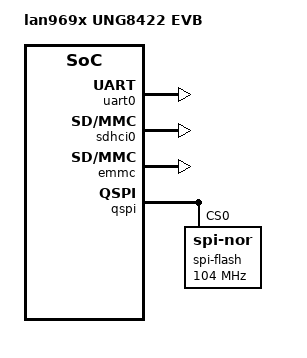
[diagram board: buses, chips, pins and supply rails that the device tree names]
/dts-v1/;

#include "lan969x_a0.dtsi"
#include "lan969x.dtsi"

/ {
	model = "lan969x UNG8422 EVB";
	config {
		u-boot,mmc-env-partition = "Env";
	};
};

&uart0 {
	status = "okay";
	pinctrl-0 = <&fc0_pins>;
	pinctrl-names = "default";
};

&sdhci0 {
	status = "okay";
};

&emmc {
	status = "okay";
	pinctrl-0 = <&emmc_sd_pins>;
	pinctrl-names = "default";
};

&qspi {
	status = "okay";
	spi-flash@0 {
		status = "okay";
		compatible = "jedec,spi-nor";
		reg = <0>;
		spi-max-frequency = <104000000>;
		u-boot,dm-pre-reloc;
	};
};
